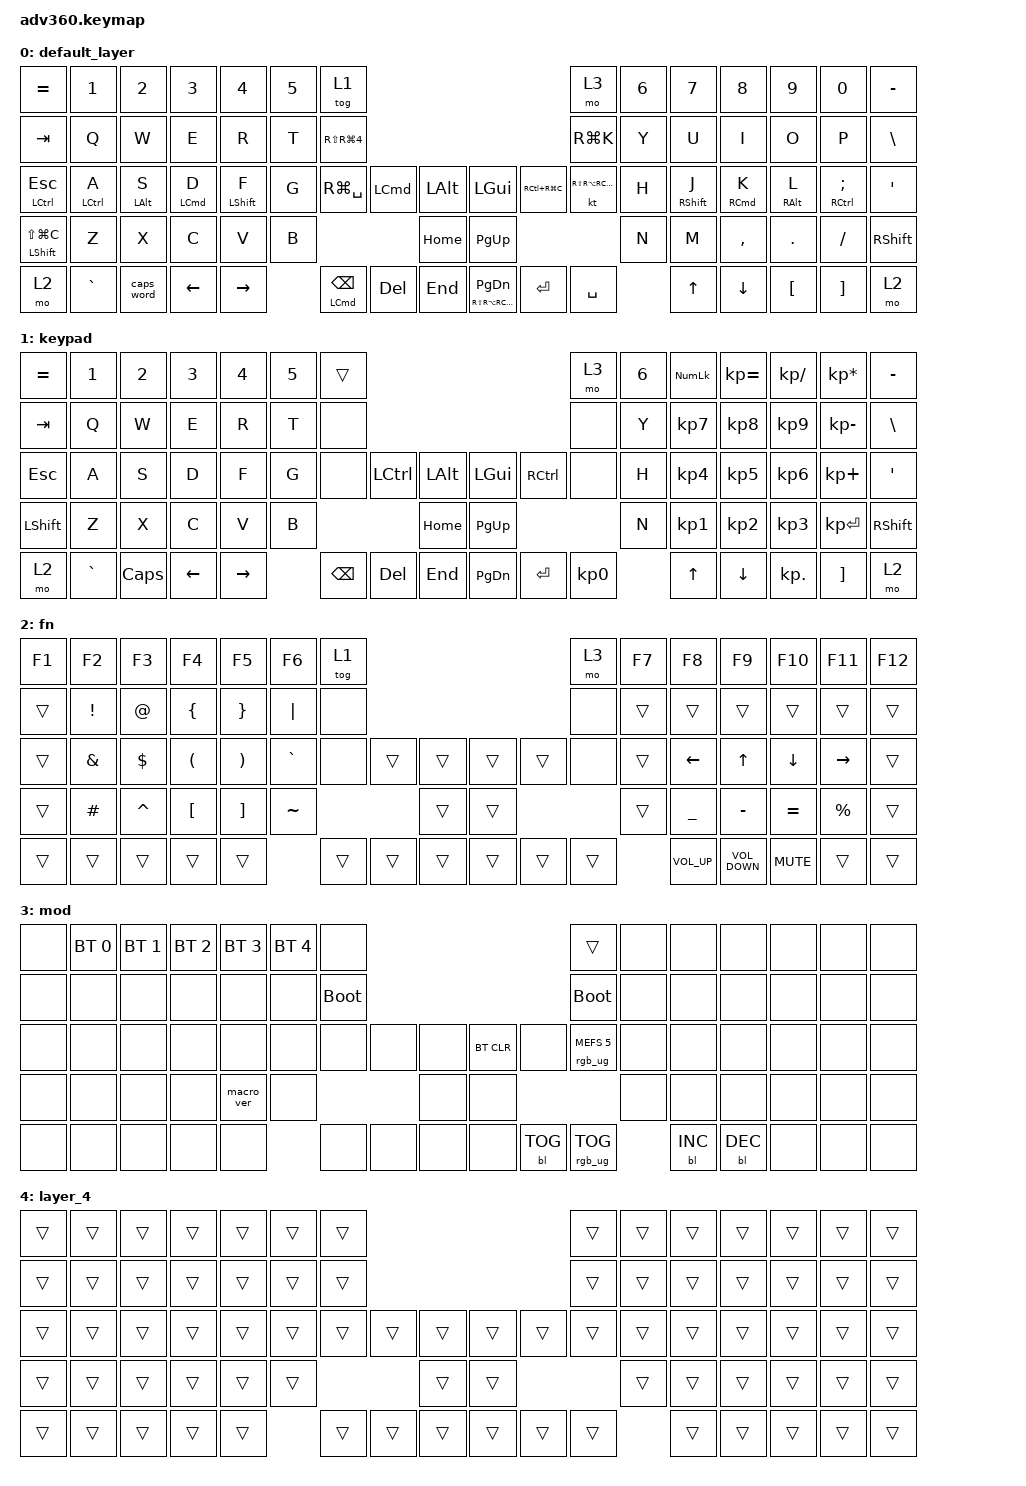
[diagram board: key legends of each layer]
#include <behaviors.dtsi>
#include <dt-bindings/zmk/backlight.h>
#include <dt-bindings/zmk/bt.h>
#include <dt-bindings/zmk/keys.h>
#include <dt-bindings/zmk/keys.h>
#include <dt-bindings/zmk/rgb.h>

/ {
    behaviors {
        #include "macros.dtsi"
      #include "version.dtsi"
      #ifndef VERSION_MACRO

        macro_ver: macro_ver {
            compatible = "zmk,behavior-macro";
            label = "macro_version";
            #binding-cells = <0>;
            bindings = <&kp RET>;
        };

        #endif

        hm: homerow_mods {
            compatible = "zmk,behavior-hold-tap";
            label = "HOMEROW_MODS";
            #binding-cells = <2>;
            tapping-term-ms = <190>;
            quick_tap_ms = <175>;
            flavor = "tap-preferred";
            bindings = <&kp>, <&kp>;
        };

        ccpy: ccpy {
            compatible = "zmk,behavior-tap-dance";
            label = "CCPY";
            #binding-cells = <0>;
            bindings = <&kp C>, <&kp LS(LG(C))>;

            tapping-term-ms = <175>;
        };
    };

    macros {
    };

    keymap {
        compatible = "zmk,keymap";

        default_layer {
            bindings = <
&kp EQUAL                 &kp N1              &kp N2          &kp N3              &kp N4            &kp N5  &tog 1                                                                                                              &mo 3                  &kp N6  &kp N7             &kp N8               &kp N9           &kp N0                  &kp MINUS
&kp TAB                   &kp Q               &kp W           &kp E               &kp R             &kp T   &kp RS(RG(NUMBER_4))                                                                                                &kp RG(K)              &kp Y   &kp U              &kp I                &kp O            &kp P                   &kp BSLH
&mt LCTRL ESCAPE          &hm LEFT_CONTROL A  &hm LEFT_ALT S  &hm LEFT_COMMAND D  &hm LEFT_SHIFT F  &kp G   &kp RG(SPACE)               &kp LEFT_COMMAND  &kp LALT      &kp LGUI                                 &kp RC(RG(C))  &kt RS(RA(RC(RG(D))))  &kp H   &hm RIGHT_SHIFT J  &hm RIGHT_COMMAND K  &hm RIGHT_ALT L  &hm RIGHT_CONTROL SEMI  &kp SQT
&mt LEFT_SHIFT LS(LG(C))  &kp Z               &kp X           &kp C               &kp V             &kp B                                                 &kp HOME      &kp PG_UP                                                                      &kp N   &kp M              &kp COMMA            &kp DOT          &kp FSLH                &kp RSHFT
&mo 2                     &kp GRAVE           &caps_word      &kp LEFT            &kp RIGHT                 &mt LEFT_COMMAND BACKSPACE  &kp DEL           &kp END       &mt RS(RA(RC(RIGHT_COMMAND))) PAGE_DOWN  &kp ENTER      &kp SPACE                      &kp UP_ARROW       &kp DOWN             &kp LBKT         &kp RBKT                &mo 2
            >;
        };

        keypad {
            bindings = <
&kp EQUAL  &kp N1     &kp N2    &kp N3    &kp N4     &kp N5  &trans                                                   &mo 3      &kp N6  &kp KP_NUM  &kp KP_EQUAL  &kp KP_DIVIDE  &kp KP_MULTIPLY  &kp MINUS
&kp TAB    &kp Q      &kp W     &kp E     &kp R      &kp T   &none                                                    &none      &kp Y   &kp KP_N7   &kp KP_N8     &kp KP_N9      &kp KP_MINUS     &kp BSLH
&kp ESC    &kp A      &kp S     &kp D     &kp F      &kp G   &none     &kp LCTRL  &kp LALT      &kp LGUI   &kp RCTRL  &none      &kp H   &kp KP_N4   &kp KP_N5     &kp KP_N6      &kp KP_PLUS      &kp SQT
&kp LSHFT  &kp Z      &kp X     &kp C     &kp V      &kp B                        &kp HOME      &kp PG_UP                        &kp N   &kp KP_N1   &kp KP_N2     &kp KP_N3      &kp KP_ENTER     &kp RSHFT
&mo 2      &kp GRAVE  &kp CAPS  &kp LEFT  &kp RIGHT          &kp BSPC  &kp DEL    &kp END       &kp PG_DN  &kp ENTER  &kp KP_N0          &kp UP      &kp DOWN      &kp KP_DOT     &kp RBKT         &mo 2
            >;
        };

        fn {
            bindings = <
&kp F1  &kp F2           &kp F3       &kp F4                &kp F5                 &kp F6     &tog 1                                      &mo 3   &kp F7  &kp F8           &kp F9             &kp F10     &kp F11      &kp F12
&trans  &kp EXCLAMATION  &kp AT_SIGN  &kp LEFT_BRACE        &kp RIGHT_BRACE        &kp PIPE   &none                                       &none   &trans  &trans           &trans             &trans      &trans       &trans
&trans  &kp AMPERSAND    &kp DOLLAR   &kp LEFT_PARENTHESIS  &kp RIGHT_PARENTHESIS  &kp GRAVE  &none   &trans  &trans      &trans  &trans  &none   &trans  &kp LEFT_ARROW   &kp UP_ARROW       &kp DOWN    &kp RIGHT    &trans
&trans  &kp HASH         &kp CARET    &kp LEFT_BRACKET      &kp RIGHT_BRACKET      &kp TILDE                  &trans      &trans                  &trans  &kp UNDERSCORE   &kp MINUS          &kp EQUAL   &kp PERCENT  &trans
&trans  &trans           &trans       &trans                &trans                            &trans  &trans  &trans      &trans  &trans  &trans          &kp C_VOLUME_UP  &kp C_VOLUME_DOWN  &kp C_MUTE  &trans       &trans
            >;
        };

        mod {
            bindings = <
&none  &bt BT_SEL 0  &bt BT_SEL 1  &bt BT_SEL 2  &bt BT_SEL 3  &bt BT_SEL 4  &none                                                  &trans                  &none  &none       &none       &none  &none  &none
&none  &none         &none         &none         &none         &none         &bootloader                                            &bootloader             &none  &none       &none       &none  &none  &none
&none  &none         &none         &none         &none         &none         &none        &none  &none      &bt BT_CLR  &none       &rgb_ug RGB_MEFS_CMD 5  &none  &none       &none       &none  &none  &none
&none  &none         &none         &none         &macro_ver    &none                             &none      &none                                           &none  &none       &none       &none  &none  &none
&none  &none         &none         &none         &none                       &none        &none  &none      &none       &bl BL_TOG  &rgb_ug RGB_TOG                &bl BL_INC  &bl BL_DEC  &none  &none  &none
            >;
        };

        layer_4 {
            bindings = <
&trans  &trans  &trans  &trans  &trans  &trans  &trans                                      &trans  &trans  &trans  &trans  &trans  &trans  &trans
&trans  &trans  &trans  &trans  &trans  &trans  &trans                                      &trans  &trans  &trans  &trans  &trans  &trans  &trans
&trans  &trans  &trans  &trans  &trans  &trans  &trans  &trans  &trans      &trans  &trans  &trans  &trans  &trans  &trans  &trans  &trans  &trans
&trans  &trans  &trans  &trans  &trans  &trans                  &trans      &trans                  &trans  &trans  &trans  &trans  &trans  &trans
&trans  &trans  &trans  &trans  &trans          &trans  &trans  &trans      &trans  &trans  &trans          &trans  &trans  &trans  &trans  &trans
            >;
        };
    };
};
